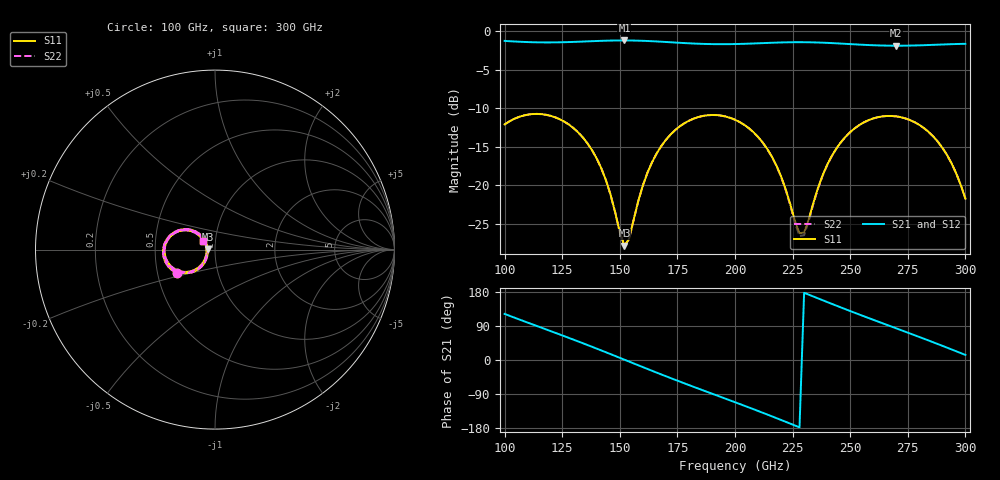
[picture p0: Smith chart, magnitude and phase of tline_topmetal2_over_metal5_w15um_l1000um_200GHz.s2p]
#  GHZ S DB R 50
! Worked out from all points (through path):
!   101 points, 100 GHz to 300 GHz, reference 50 ohm
!   highest |S21| = -1.22 dB at 152 GHz (marker M1); lowest = -1.9 dB at 270 GHz (marker M2)
!   group delay of S21, straight-line fit = 6.52 ps
!   lowest |S11| = -27.9 dB at 152 GHz (marker M3), VSWR 1.08, Z = 46.1 + j0.168 ohm
!   |S11| at or under -10 dB: start of sweep to end of sweep
!   |S22| runs from -27.9 to -10.8 dB; largest |S21 - S12| = 9.6e-14
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100  -12.12 -147.7  -1.27 121.6  -1.27 121.6  -12.12 -147.8
116  -10.78 -179.8  -1.47 85.2  -1.47 85.2  -10.78 -179.9
126  -11.77 160.6  -1.44 62.6  -1.44 62.6  -11.77 160.5
134  -13.82 145.9  -1.36 44.2  -1.36 44.2  -13.82 145.8
144  -19.37 134.2  -1.25 20.3  -1.25 20.3  -19.38 134.0
152  -27.86 177.4  -1.22 0.8  -1.22 0.8  -27.92 177.3
154  -26.98 -154.4  -1.22 -4.1  -1.22 -4.1  -27.03 -154.4
162  -18.39 -128.3  -1.29 -23.6  -1.29 -23.6  -18.40 -128.3
168  -14.93 -135.2  -1.38 -38.0  -1.38 -38.0  -14.93 -135.2
184  -11.17 -164.3  -1.64 -75.2  -1.64 -75.2  -11.17 -164.4
200  -11.50 165.2  -1.68 -111.4  -1.68 -111.4  -11.51 165.0
216  -16.29 139.3  -1.52 -148.6  -1.52 -148.6  -16.32 138.7
228  -26.24 171.5  -1.44 -177.7  -1.44 -177.7  -26.60 171.1
230  -26.15 -164.8  -1.44 177.4  -1.44 177.4  -26.50 -164.0
234  -22.31 -137.3  -1.46 167.6  -1.46 167.6  -22.44 -136.0
240  -17.37 -132.9  -1.53 153.0  -1.53 153.0  -17.41 -132.0
248  -13.71 -143.0  -1.66 133.9  -1.66 133.9  -13.72 -142.4
258  -11.56 -160.7  -1.81 110.7  -1.81 110.7  -11.56 -160.2
268  -11.02 -179.3  -1.89 88.0  -1.89 88.0  -11.02 -178.9
270  -11.07 177.0  -1.90 83.5  -1.90 83.5  -11.07 177.4
288  -14.34 145.7  -1.76 42.1  -1.76 42.1  -14.34 146.0
300  -21.75 143.3  -1.65 13.4  -1.65 13.4  -21.74 143.6
